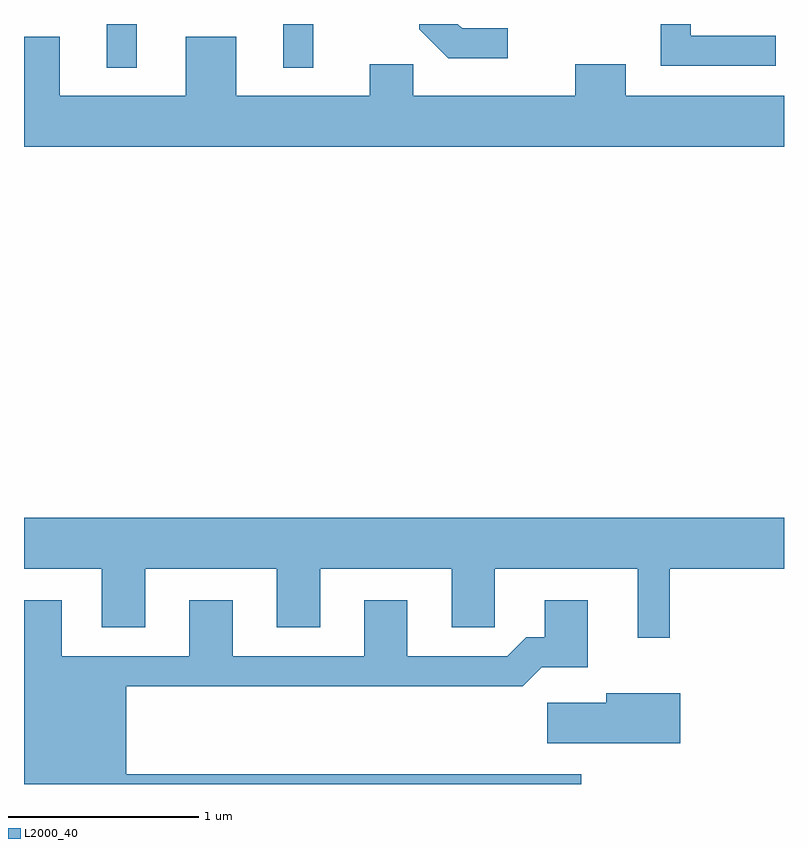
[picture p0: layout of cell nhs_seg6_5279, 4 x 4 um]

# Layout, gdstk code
import gdstk
lib = gdstk.Library(unit=1e-6, precision=1e-09)
def R(c, l, rs):  # rectangles x0, y0, x1, y1
    for r in rs: c.add(gdstk.rectangle(r[:2], r[2:], *l))
def P(c, l, *ps):  # polygons
    for p in ps: c.add(gdstk.Polygon(p, *l))
L2000_40 = (2000, 40)

nhs_seg6_5279 = lib.new_cell('nhs_seg6_5279')
R(nhs_seg6_5279, L2000_40, [(346.046,1625.933,346.204,1626.162), (346.976,1625.933,347.134,1626.162)])
P(nhs_seg6_5279, L2000_40, [(349.568,1626.099),(349.119,1626.099),(349.119,1626.162),(348.961,1626.162),(348.961,1625.941),(349.568,1625.941)],
  [(348.158,1626.139),(347.917,1626.139),(347.894,1626.162),(347.691,1626.162),(347.691,1626.134),(347.844,1625.981),(348.158,1625.981)],
  [(349.611,1625.784),(348.779,1625.784),(348.779,1625.949),(348.511,1625.949),(348.511,1625.784),(347.659,1625.784),(347.659,1625.949),(347.431,1625.949),(347.431,1625.784),(346.729,1625.784),(346.729,1626.094),(346.461,1626.094),(346.461,1625.784),(345.799,1625.784),(345.799,1626.094),(345.611,1626.094),(345.611,1625.516),(349.611,1625.516)],
  [(349.009,1623.296),(349.611,1623.296),(349.611,1623.564),(345.611,1623.564),(345.611,1623.296),(346.021,1623.296),(346.021,1622.986),(346.249,1622.986),(346.249,1623.296),(346.941,1623.296),(346.941,1622.986),(347.169,1622.986),(347.169,1623.296),(347.861,1623.296),(347.861,1622.986),(348.089,1622.986),(348.089,1623.296),(348.841,1623.296),(348.841,1622.933),(349.009,1622.933)],
  [(348.544,1622.214),(346.149,1622.214),(346.149,1622.676),(348.237,1622.676),(348.337,1622.776),(348.579,1622.776),(348.579,1623.129),(348.351,1623.129),(348.351,1622.934),(348.254,1622.934),(348.154,1622.834),(347.629,1622.834),(347.629,1623.129),(347.401,1623.129),(347.401,1622.834),(346.709,1622.834),(346.709,1623.129),(346.481,1623.129),(346.481,1622.834),(345.809,1622.834),(345.809,1623.129),(345.611,1623.129),(345.611,1622.162),(348.544,1622.162)],
  [(349.064,1622.639),(348.676,1622.639),(348.676,1622.589),(348.366,1622.589),(348.366,1622.376),(349.064,1622.376)])

lib.write_gds('nhs_seg6_5279.gds')
